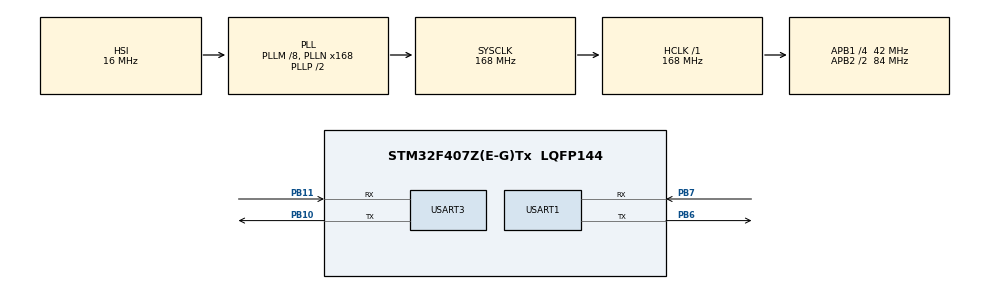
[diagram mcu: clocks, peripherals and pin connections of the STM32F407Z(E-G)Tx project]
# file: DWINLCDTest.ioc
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Dma.Request0=USART1_RX
Dma.USART1_RX.0.Direction=DMA_PERIPH_TO_MEMORY
Dma.USART1_RX.0.FIFOMode=DMA_FIFOMODE_DISABLE
Dma.USART1_RX.0.Instance=DMA2_Stream2
Dma.USART1_RX.0.MemDataAlignment=DMA_MDATAALIGN_BYTE
Dma.USART1_RX.0.MemInc=DMA_MINC_ENABLE
Dma.USART1_RX.0.Mode=DMA_NORMAL
Dma.USART1_RX.0.PeriphDataAlignment=DMA_PDATAALIGN_BYTE
Dma.USART1_RX.0.PeriphInc=DMA_PINC_DISABLE
Dma.USART1_RX.0.Priority=DMA_PRIORITY_LOW
Mcu.Family=STM32F4
Mcu.Name=STM32F407Z(E-G)Tx
Mcu.Package=LQFP144
NVIC.DMA2_Stream2_IRQn=true\:0\:0\:false\:false\:true\:false\:true\:true
NVIC.PriorityGroup=NVIC_PRIORITYGROUP_4
NVIC.USART1_IRQn=true\:0\:0\:false\:false\:true\:true\:true\:true
PB10.Mode=Asynchronous
PB10.Signal=USART3_TX
PB11.Mode=Asynchronous
PB11.Signal=USART3_RX
PB6.Mode=Asynchronous
PB6.Signal=USART1_TX
PB7.Mode=Asynchronous
PB7.Signal=USART1_RX
PC14-OSC32_IN.Mode=LSE-External-Oscillator
PC14-OSC32_IN.Signal=RCC_OSC32_IN
PC15-OSC32_OUT.Mode=LSE-External-Oscillator
PC15-OSC32_OUT.Signal=RCC_OSC32_OUT
PH0-OSC_IN.Mode=HSE-External-Oscillator
PH0-OSC_IN.Signal=RCC_OSC_IN
PH1-OSC_OUT.Mode=HSE-External-Oscillator
PH1-OSC_OUT.Signal=RCC_OSC_OUT
ProjectManager.HeapSize=0x200
ProjectManager.StackSize=0x400
ProjectManager.TargetToolchain=STM32CubeIDE
RCC.48MHZClocksFreq_Value=84000000
RCC.AHBFreq_Value=168000000
RCC.APB1CLKDivider=RCC_HCLK_DIV4
RCC.APB1Freq_Value=42000000
RCC.APB1TimFreq_Value=84000000
RCC.APB2CLKDivider=RCC_HCLK_DIV2
RCC.APB2Freq_Value=84000000
RCC.APB2TimFreq_Value=168000000
RCC.CortexFreq_Value=168000000
RCC.HCLKFreq_Value=168000000
RCC.HSE_VALUE=25000000
RCC.HSI_VALUE=16000000
RCC.PLLM=8
RCC.PLLN=168
RCC.SYSCLKFreq_VALUE=168000000
RCC.SYSCLKSource=RCC_SYSCLKSOURCE_PLLCLK
RCC.VCOOutputFreq_Value=336000000
USART1.VirtualMode=VM_ASYNC
USART3.VirtualMode=VM_ASYNC
board=custom

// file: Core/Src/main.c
/* USER CODE BEGIN Header */
/**
  ******************************************************************************
  * @file           : main.c
  * @brief          : Main program body
  ******************************************************************************
  * @attention
  *
  * Copyright (c) 2026 STMicroelectronics.
  * All rights reserved.
  *
  * This software is licensed under terms that can be found in the LICENSE file
  * in the root directory of this software component.
  * If no LICENSE file comes with this software, it is provided AS-IS.
  *
  ******************************************************************************
  */
/* USER CODE END Header */
#include "main.h"

/* USER CODE BEGIN Includes */
#include <string.h>
#include "dwinlcd.h"

/* USER CODE END Includes */

UART_HandleTypeDef huart1;
UART_HandleTypeDef huart3;
DMA_HandleTypeDef hdma_usart1_rx;

/* USER CODE BEGIN PV */
dwinDriver uart1_driver;
uint8_t connectCheck = 0;

/* USER CODE END PV */

void SystemClock_Config(void);
static void MX_GPIO_Init(void);
static void MX_DMA_Init(void);
static void MX_USART1_UART_Init(void);
static void MX_USART3_UART_Init(void);
/* USER CODE BEGIN PFP */
void HAL_UARTEx_RxEventCallback(UART_HandleTypeDef *huart, uint16_t Size)
{
    if (huart->Instance == USART1)
    {
        uart1_driver.resLength = Size;
        uart1_driver.rxComplete = 1;
        HAL_UART_Transmit(&huart3, uart1_driver.responseBuffer, uart1_driver.resLength, 100);
        uint8_t FC = uart1_driver.cmdType;
                switch(FC){
                	case pageChange:{
                		// Do nothing
                		break;
                	}
                	case wrData:{
                		// check the first and Second and third element of Response buffer
                		writeDataHandler(&uart1_driver, Size);
                		break;
                	}
                	case rdSingleReg:{
                		// check data is available or not

                		break;
                	}
                	case rdSingleBit:{
                		// check data is available or not

        				break;
                	}
                	case rdRTC:{
                		//set the values for RTC
                		break;
                	}
                	case buzOn:{
                		break;
                	}
                	default: break;

                }
        DWINDriverListening(&uart1_driver);
    }

}
/* USER CODE END PFP */

int main(void)
{

  /* MCU Configuration--------------------------------------------------------*/

  /* Reset of all peripherals, Initializes the Flash interface and the Systick. */
  HAL_Init();

  /* Configure the system clock */
  SystemClock_Config();

  /* Initialize all configured peripherals */
  MX_GPIO_Init();
  MX_DMA_Init();
  MX_USART1_UART_Init();
  MX_USART3_UART_Init();
  /* USER CODE BEGIN 2 */

  DWINDriverInit(&uart1_driver, &huart1);
  DWINDriverListening(&uart1_driver);

  /* USER CODE END 2 */

  /* Infinite loop */
  while (1)
  {

    /* USER CODE BEGIN 3 */
//	  if(isConnected(&uart1_driver) == HAL_OK) connectCheck = 2;
//	  else connectCheck = 3;
//	  HAL_Delay(1000);
//	  gotoPage(&uart1_driver, 3);
//	  HAL_Delay(1000);
//	  memset(uart1_driver.responseBuffer, 0, RESPONSEBUFFER);
//	  nextPage(&uart1_driver);
//	  HAL_Delay(1000);
//	  gotoPage(&uart1_driver, 5);
//	  HAL_Delay(1000);
//	  memset(uart1_driver.responseBuffer, 0, RESPONSEBUFFER);
//	  nextPage(&uart1_driver);
//	  HAL_Delay(1000);
//	  for(uint8_t i = 0; i < 5; i++){
//		  nextPage(&uart1_driver);
//		  HAL_Delay(1000);
//	  }
	  readReg(&uart1_driver, 0x2000, 10);
	  HAL_Delay(1000);
	  memset(uart1_driver.responseBuffer, 0, RESPONSEBUFFER);
	  readReg(&uart1_driver, 0x2010, 10);
	  HAL_Delay(1000);
	  memset(uart1_driver.responseBuffer, 0, RESPONSEBUFFER);
	  setSingleBit(&uart1_driver, 0x0100, 0);
	  while(1);

  }
  /* USER CODE END 3 */
}

void SystemClock_Config(void)
{
  RCC_OscInitTypeDef RCC_OscInitStruct = {0};
  RCC_ClkInitTypeDef RCC_ClkInitStruct = {0};

  /** Configure the main internal regulator output voltage
  */
  __HAL_RCC_PWR_CLK_ENABLE();
  __HAL_PWR_VOLTAGESCALING_CONFIG(PWR_REGULATOR_VOLTAGE_SCALE1);

  /** Initializes the RCC Oscillators according to the specified parameters
  * in the RCC_OscInitTypeDef structure.
  */
  RCC_OscInitStruct.OscillatorType = RCC_OSCILLATORTYPE_HSI;
  RCC_OscInitStruct.HSIState = RCC_HSI_ON;
  RCC_OscInitStruct.HSICalibrationValue = RCC_HSICALIBRATION_DEFAULT;
  RCC_OscInitStruct.PLL.PLLState = RCC_PLL_ON;
  RCC_OscInitStruct.PLL.PLLSource = RCC_PLLSOURCE_HSI;
  RCC_OscInitStruct.PLL.PLLM = 8;
  RCC_OscInitStruct.PLL.PLLN = 168;
  RCC_OscInitStruct.PLL.PLLP = RCC_PLLP_DIV2;
  RCC_OscInitStruct.PLL.PLLQ = 4;
  if (HAL_RCC_OscConfig(&RCC_OscInitStruct) != HAL_OK)
  {
    Error_Handler();
  }

  /** Initializes the CPU, AHB and APB buses clocks
  */
  RCC_ClkInitStruct.ClockType = RCC_CLOCKTYPE_HCLK|RCC_CLOCKTYPE_SYSCLK
                              |RCC_CLOCKTYPE_PCLK1|RCC_CLOCKTYPE_PCLK2;
  RCC_ClkInitStruct.SYSCLKSource = RCC_SYSCLKSOURCE_PLLCLK;
  RCC_ClkInitStruct.AHBCLKDivider = RCC_SYSCLK_DIV1;
  RCC_ClkInitStruct.APB1CLKDivider = RCC_HCLK_DIV4;
  RCC_ClkInitStruct.APB2CLKDivider = RCC_HCLK_DIV2;

  if (HAL_RCC_ClockConfig(&RCC_ClkInitStruct, FLASH_LATENCY_5) != HAL_OK)
  {
    Error_Handler();
  }
}

static void MX_USART1_UART_Init(void)
{

  huart1.Instance = USART1;
  huart1.Init.BaudRate = 115200;
  huart1.Init.WordLength = UART_WORDLENGTH_8B;
  huart1.Init.StopBits = UART_STOPBITS_1;
  huart1.Init.Parity = UART_PARITY_NONE;
  huart1.Init.Mode = UART_MODE_TX_RX;
  huart1.Init.HwFlowCtl = UART_HWCONTROL_NONE;
  huart1.Init.OverSampling = UART_OVERSAMPLING_16;
  if (HAL_UART_Init(&huart1) != HAL_OK)
  {
    Error_Handler();
  }

}

static void MX_USART3_UART_Init(void)
{

  huart3.Instance = USART3;
  huart3.Init.BaudRate = 115200;
  huart3.Init.WordLength = UART_WORDLENGTH_8B;
  huart3.Init.StopBits = UART_STOPBITS_1;
  huart3.Init.Parity = UART_PARITY_NONE;
  huart3.Init.Mode = UART_MODE_TX_RX;
  huart3.Init.HwFlowCtl = UART_HWCONTROL_NONE;
  huart3.Init.OverSampling = UART_OVERSAMPLING_16;
  if (HAL_UART_Init(&huart3) != HAL_OK)
  {
    Error_Handler();
  }

}

static void MX_DMA_Init(void)
{

  /* DMA controller clock enable */
  __HAL_RCC_DMA2_CLK_ENABLE();

  /* DMA interrupt init */
  /* DMA2_Stream2_IRQn interrupt configuration */
  HAL_NVIC_SetPriority(DMA2_Stream2_IRQn, 0, 0);
  HAL_NVIC_EnableIRQ(DMA2_Stream2_IRQn);

}

static void MX_GPIO_Init(void)
{

  /* GPIO Ports Clock Enable */
  __HAL_RCC_GPIOC_CLK_ENABLE();
  __HAL_RCC_GPIOH_CLK_ENABLE();
  __HAL_RCC_GPIOB_CLK_ENABLE();

}

void Error_Handler(void)
{
  __disable_irq();
  while (1)
  {
  }
}
